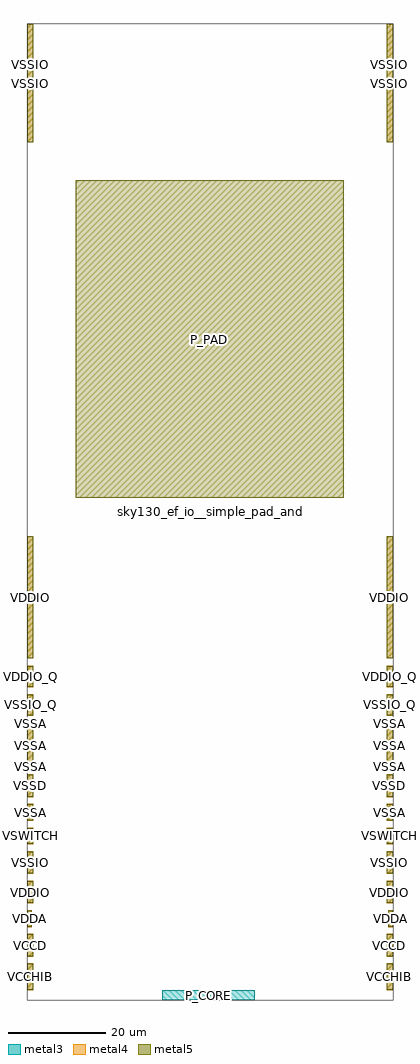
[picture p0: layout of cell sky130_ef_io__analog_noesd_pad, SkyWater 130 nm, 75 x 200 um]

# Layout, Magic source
magic
tech sky130A
magscale 1 2
<< metal3 >>
rect 5544 0 9344 391
<< metal4 >>
rect 0 35157 254 40000
rect 14746 35157 15000 40000
rect 0 14007 254 19000
rect 14746 14007 15000 19000
rect 0 12817 254 13707
rect 14746 12817 15000 13707
rect 0 11647 254 12537
rect 14746 11647 15000 12537
rect 0 11281 254 11347
rect 14746 11281 15000 11347
rect 0 10625 254 11221
rect 14746 10625 15000 11221
rect 0 10329 254 10565
rect 14746 10329 15000 10565
rect 0 9673 254 10269
rect 14746 9673 15000 10269
rect 0 9547 254 9613
rect 14746 9547 15000 9613
rect 0 8317 254 9247
rect 14746 8317 15000 9247
rect 0 7347 254 8037
rect 14746 7347 15000 8037
rect 0 6377 254 7067
rect 14746 6377 15000 7067
rect 0 5167 254 6097
rect 14746 5167 15000 6097
rect 0 3957 254 4887
rect 14746 3957 15000 4887
rect 0 2987 193 3677
rect 14807 2987 15000 3677
rect 0 1777 254 2707
rect 14746 1777 15000 2707
rect 0 407 254 1497
rect 14746 407 15000 1497
<< metal5 >>
rect 0 35157 254 40000
rect 14746 35157 15000 40000
rect 2000 20574 12990 33596
rect 0 14007 254 18997
rect 14746 14007 15000 18997
rect 0 12837 254 13687
rect 14746 12837 15000 13687
rect 0 11667 254 12517
rect 14746 11667 15000 12517
rect 0 9547 254 11347
rect 14746 9547 15000 11347
rect 0 8337 254 9227
rect 14746 8337 15000 9227
rect 0 7368 254 8017
rect 14746 7368 15000 8017
rect 0 6397 254 7047
rect 14746 6397 15000 7047
rect 0 5187 254 6077
rect 14746 5187 15000 6077
rect 0 3977 254 4867
rect 14746 3977 15000 4867
rect 0 3007 193 3657
rect 14807 3007 15000 3657
rect 0 1797 254 2687
rect 14746 1797 15000 2687
rect 0 427 254 1477
rect 14746 427 15000 1477
use sky130_ef_io__simple_pad_and_busses  sky130_ef_io__simple_pad_and_busses_0
transform 1 0 -8 0 1 -1
box 8 1 15008 40001
<< labels >>
flabel metal3 s 5544 0 9344 391 0 FreeSans 3125 0 0 0 P_CORE
port 1 nsew
flabel metal4 s 0 7347 254 8037 3 FreeSans 812 0 0 0 VSSA
port 2 nsew
flabel metal4 s 0 11281 254 11347 3 FreeSans 812 0 0 0 VSSA
port 2 nsew
flabel metal4 s 0 9547 254 9613 3 FreeSans 812 0 0 0 VSSA
port 2 nsew
flabel metal4 s 0 10329 254 10565 3 FreeSans 812 0 0 0 VSSA
port 2 nsew
flabel metal4 s 14746 7347 15000 8037 3 FreeSans 812 180 0 0 VSSA
port 2 nsew
flabel metal4 s 14746 11281 15000 11347 3 FreeSans 812 180 0 0 VSSA
port 2 nsew
flabel metal4 s 14746 9547 15000 9613 3 FreeSans 812 180 0 0 VSSA
port 2 nsew
flabel metal4 s 14746 10329 15000 10565 3 FreeSans 812 180 0 0 VSSA
port 2 nsew
flabel metal5 s 14746 7368 15000 8017 3 FreeSans 812 180 0 0 VSSA
port 2 nsew
flabel metal5 s 0 9547 254 11347 3 FreeSans 812 0 0 0 VSSA
port 2 nsew
flabel metal5 s 0 7368 254 8017 3 FreeSans 812 0 0 0 VSSA
port 2 nsew
flabel metal5 s 14746 9547 15000 11347 3 FreeSans 812 180 0 0 VSSA
port 2 nsew
flabel metal4 s 0 8317 254 9247 3 FreeSans 812 0 0 0 VSSD
port 3 nsew
flabel metal4 s 14746 8317 15000 9247 3 FreeSans 812 180 0 0 VSSD
port 3 nsew
flabel metal5 s 0 8337 254 9227 3 FreeSans 812 0 0 0 VSSD
port 3 nsew
flabel metal5 s 14746 8337 15000 9227 3 FreeSans 812 180 0 0 VSSD
port 3 nsew
flabel metal4 s 0 9673 254 10269 3 FreeSans 812 0 0 0 AMUXBUS_B
port 4 nsew
flabel metal4 s 14746 9673 15000 10269 3 FreeSans 812 180 0 0 AMUXBUS_B
port 4 nsew
flabel metal4 s 0 10625 254 11221 3 FreeSans 812 0 0 0 AMUXBUS_A
port 5 nsew
flabel metal4 s 14746 10625 15000 11221 3 FreeSans 812 180 0 0 AMUXBUS_A
port 5 nsew
flabel metal4 s 0 12817 254 13707 3 FreeSans 812 0 0 0 VDDIO_Q
port 6 nsew
flabel metal4 s 14746 12817 15000 13707 3 FreeSans 812 180 0 0 VDDIO_Q
port 6 nsew
flabel metal5 s 14746 12837 15000 13687 3 FreeSans 812 180 0 0 VDDIO_Q
port 6 nsew
flabel metal5 s 0 12837 254 13687 3 FreeSans 812 0 0 0 VDDIO_Q
port 6 nsew
flabel metal4 s 0 14007 254 19000 3 FreeSans 812 0 0 0 VDDIO
port 7 nsew
flabel metal4 s 0 3957 254 4887 3 FreeSans 812 0 0 0 VDDIO
port 7 nsew
flabel metal4 s 14746 14007 15000 19000 3 FreeSans 812 180 0 0 VDDIO
port 7 nsew
flabel metal4 s 14746 3957 15000 4887 3 FreeSans 812 180 0 0 VDDIO
port 7 nsew
flabel metal5 s 0 3977 254 4867 3 FreeSans 812 0 0 0 VDDIO
port 7 nsew
flabel metal5 s 0 14007 254 18997 3 FreeSans 812 0 0 0 VDDIO
port 7 nsew
flabel metal5 s 14746 3977 15000 4867 3 FreeSans 812 180 0 0 VDDIO
port 7 nsew
flabel metal5 s 14746 14007 15000 18997 3 FreeSans 812 180 0 0 VDDIO
port 7 nsew
flabel metal4 s 0 6377 254 7067 3 FreeSans 812 0 0 0 VSWITCH
port 8 nsew
flabel metal4 s 14746 6377 15000 7067 3 FreeSans 812 180 0 0 VSWITCH
port 8 nsew
flabel metal5 s 14746 6397 15000 7047 3 FreeSans 812 180 0 0 VSWITCH
port 8 nsew
flabel metal5 s 0 6397 254 7047 3 FreeSans 812 0 0 0 VSWITCH
port 8 nsew
flabel metal4 s 0 5167 254 6097 3 FreeSans 812 0 0 0 VSSIO
port 9 nsew
flabel metal4 s 14746 5167 15000 6097 3 FreeSans 812 180 0 0 VSSIO
port 9 nsew
flabel metal4 s 0 35157 254 40000 3 FreeSans 812 0 0 0 VSSIO
port 9 nsew
flabel metal4 s 127 38321 127 38321 3 FreeSans 812 0 0 0 VSSIO
flabel metal4 s 14746 35157 15000 40000 3 FreeSans 812 180 0 0 VSSIO
port 9 nsew
flabel metal4 s 14873 38321 14873 38321 3 FreeSans 812 180 0 0 VSSIO
flabel metal5 s 14746 5187 15000 6077 3 FreeSans 812 180 0 0 VSSIO
port 9 nsew
flabel metal5 s 14746 35157 15000 40000 3 FreeSans 812 180 0 0 VSSIO
port 9 nsew
flabel metal5 s 0 35157 254 40000 3 FreeSans 812 0 0 0 VSSIO
port 9 nsew
flabel metal5 s 0 5187 254 6077 3 FreeSans 812 0 0 0 VSSIO
port 9 nsew
flabel metal4 s 0 2987 193 3677 3 FreeSans 812 0 0 0 VDDA
port 10 nsew
flabel metal4 s 14807 2987 15000 3677 3 FreeSans 812 180 0 0 VDDA
port 10 nsew
flabel metal5 s 0 3007 193 3657 3 FreeSans 812 0 0 0 VDDA
port 10 nsew
flabel metal5 s 14807 3007 15000 3657 3 FreeSans 812 180 0 0 VDDA
port 10 nsew
flabel metal4 s 0 1777 254 2707 3 FreeSans 812 0 0 0 VCCD
port 11 nsew
flabel metal4 s 14746 1777 15000 2707 3 FreeSans 812 180 0 0 VCCD
port 11 nsew
flabel metal5 s 0 1797 254 2687 3 FreeSans 812 0 0 0 VCCD
port 11 nsew
flabel metal5 s 14746 1797 15000 2687 3 FreeSans 812 180 0 0 VCCD
port 11 nsew
flabel metal4 s 0 407 254 1497 3 FreeSans 812 0 0 0 VCCHIB
port 12 nsew
flabel metal4 s 14746 407 15000 1497 3 FreeSans 812 180 0 0 VCCHIB
port 12 nsew
flabel metal5 s 0 427 254 1477 3 FreeSans 812 0 0 0 VCCHIB
port 12 nsew
flabel metal5 s 14746 427 15000 1477 3 FreeSans 812 180 0 0 VCCHIB
port 12 nsew
flabel metal4 s 0 11647 254 12537 3 FreeSans 812 0 0 0 VSSIO_Q
port 13 nsew
flabel metal4 s 14746 11647 15000 12537 3 FreeSans 812 180 0 0 VSSIO_Q
port 13 nsew
flabel metal5 s 14746 11667 15000 12517 3 FreeSans 812 180 0 0 VSSIO_Q
port 13 nsew
flabel metal5 s 0 11667 254 12517 3 FreeSans 812 0 0 0 VSSIO_Q
port 13 nsew
flabel metal5 s 2000 20574 12990 33596 0 FreeSans 3125 0 0 0 P_PAD
port 14 nsew
<< end >>
